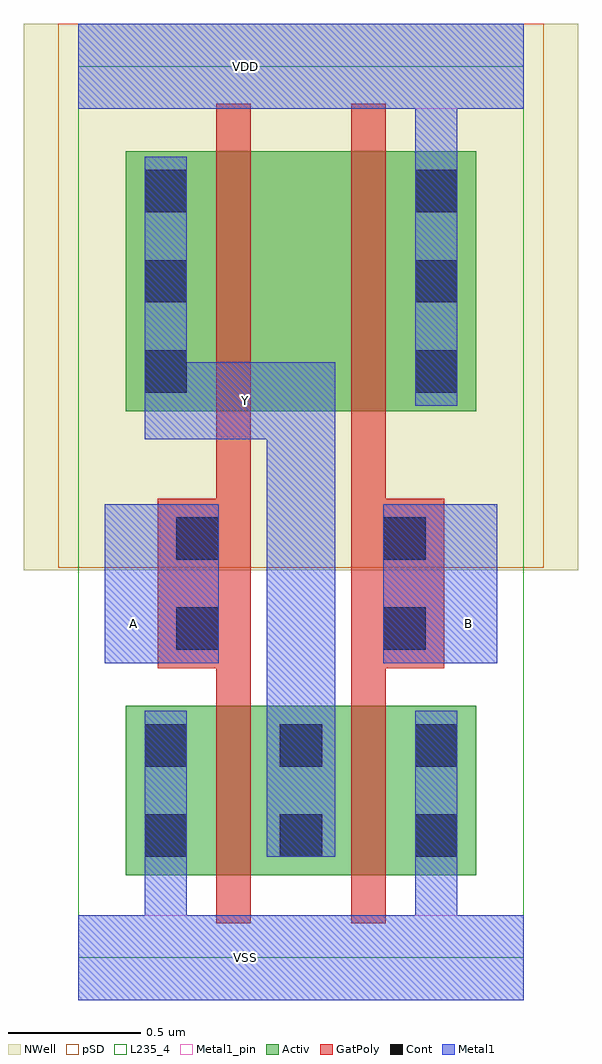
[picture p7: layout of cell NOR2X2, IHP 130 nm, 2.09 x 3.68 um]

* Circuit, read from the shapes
.subckt NOR2X2 A B VDD VSS Y
XM1 Y A VSS VSUBS sg13_lv_nmos w=0.64u l=0.13u
XM2 VSS B Y VSUBS sg13_lv_nmos w=0.64u l=0.13u
XM3 n1 A Y n2 sg13_lv_pmos w=0.98u l=0.13u
XM4 VDD B n1 n2 sg13_lv_pmos w=0.98u l=0.13u
.ends

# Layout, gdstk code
import gdstk
lib = gdstk.Library(unit=1e-6, precision=1e-09)
def R(c, l, rs):  # rectangles x0, y0, x1, y1
    for r in rs: c.add(gdstk.rectangle(r[:2], r[2:], *l))
def A(c, l, x, y, w, h, nx, ny, dx, dy):  # array of equal rectangles
    R(c, l, [(x+i*dx, y+j*dy, x+i*dx+w, y+j*dy+h) for i in range(nx) for j in range(ny)])
Activ = (1, 0)
GatPoly = (5, 0)
Cont = (6, 0)
Metal1 = (8, 0)
Metal1_pin = (8, 2)
pSD = (14, 0)
NWell = (31, 0)
L235_4 = (235, 4)

nor2x2 = lib.new_cell('NOR2X2')
R(nor2x2, Activ, [(0.18,0.31,1.5,0.95), (0.18,2.06,1.5,3.04)])
R(nor2x2, GatPoly, [(0.52,0.13,0.65,3.22), (1.03,0.13,1.16,3.22), (0.3,1.09,0.52,1.73), (1.16,1.09,1.38,1.73)])
A(nor2x2, Cont, 0.25, 0.38, 0.16, 0.16, 3, 2, 0.51, 0.34)
A(nor2x2, Cont, 0.25, 2.13, 0.16, 0.16, 1, 3, 0, 0.34)
A(nor2x2, Cont, 1.27, 2.13, 0.16, 0.16, 1, 3, 0, 0.34)
R(nor2x2, Cont, [(0.37,1.16,0.53,1.32), (1.15,1.16,1.31,1.32), (0.37,1.5,0.53,1.66), (1.15,1.5,1.31,1.66)])
R(nor2x2, Metal1, [(0,-0.16,1.68,0.16), (0.25,0.16,0.41,0.93), (1.27,0.16,1.43,0.93), (0.71,0.38,0.97,1.955), (0.1,1.11,0.53,1.71), (1.15,1.11,1.58,1.71), (0.25,1.955,0.97,2.245), (1.27,2.08,1.43,3.2), (0.25,2.245,0.41,3.02), (0,3.2,1.68,3.52)])
R(nor2x2, Metal1_pin, [(0,-0.16,1.68,0.16), (0.71,0.38,0.97,1.955), (0.1,1.11,0.53,1.71), (1.15,1.11,1.58,1.71), (0.25,1.955,0.97,2.245), (0.25,2.245,0.41,3.02), (0,3.2,1.68,3.52)])
R(nor2x2, pSD, [(-0.075,1.47,1.755,3.52)])
R(nor2x2, NWell, [(-0.205,1.46,1.885,3.52)])
R(nor2x2, L235_4, [(0,0,1.68,3.36)])
nor2x2.add(gdstk.Label('Y', (0.63,2.1), layer=8, texttype=25))
nor2x2.add(gdstk.Label('B', (1.47,1.26), layer=8, texttype=25))
nor2x2.add(gdstk.Label('A', (0.21,1.26), layer=8, texttype=25))
nor2x2.add(gdstk.Label('VSS', (0.63,0), layer=8, texttype=25))
nor2x2.add(gdstk.Label('VDD', (0.63,3.36), layer=8, texttype=25))

lib.write_gds('NOR2X2.gds')
